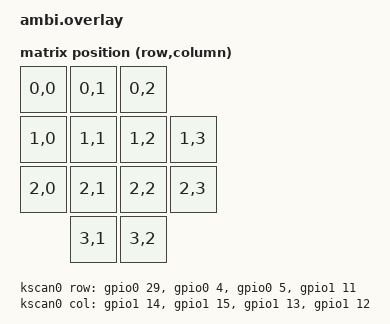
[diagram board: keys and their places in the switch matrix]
/*
 * Copyright (c) 2025 The ZMK Contributors
 *
 * SPDX-License-Identifier: MIT
 */

#include <dt-bindings/zmk/matrix_transform.h>
#include <physical_layouts.dtsi>

/ {
    chosen {
        zmk,kscan = &kscan0;
        zmk,physical-layout = &physical_layout;
    };

    default_transform: keymap_transform_0 {
        compatible = "zmk,matrix-transform";
        columns = <4>;
        rows = <4>;
// Ambi10 Layout (13 keys)
// Row 0: 3 keys (left, center, right)
// Row 1: 4 keys (left ~ right)
// Row 2: 4 keys (left ~ right)
// Row 3: 2 keys (center and right)
        map = <
RC(0,0) RC(0,1) RC(0,2)
RC(1,0) RC(1,1) RC(1,2) RC(1,3)
RC(2,0) RC(2,1) RC(2,2) RC(2,3)
        RC(3,1) RC(3,2)
        >;
    };

    physical_layout: physical_layout {
        compatible = "zmk,physical-layout";
        display-name = "Ambi10";
        transform = <&default_transform>;
        kscan = <&kscan0>;
// Keys: width, height, x, y, rotation, rotation_x, rotation_y (all in 1/100th mm)
// Standard key is 100x100 (1u x 1u)
        keys
            = <&key_physical_attrs 100 100   0   0 0 0 0>  // Row 0, Col 0: 7
            , <&key_physical_attrs 100 100 100   0 0 0 0>  // Row 0, Col 1: 8
            , <&key_physical_attrs 100 100 200   0 0 0 0>  // Row 0, Col 2: 9
            , <&key_physical_attrs 100 100   0 100 0 0 0>  // Row 1, Col 0: 4
            , <&key_physical_attrs 100 100 100 100 0 0 0>  // Row 1, Col 1: 5
            , <&key_physical_attrs 100 100 200 100 0 0 0>  // Row 1, Col 2: 6
            , <&key_physical_attrs 100 100 300 100 0 0 0>  // Row 1, Col 3: -
            , <&key_physical_attrs 100 100   0 200 0 0 0>  // Row 2, Col 0: 1
            , <&key_physical_attrs 100 100 100 200 0 0 0>  // Row 2, Col 1: 2
            , <&key_physical_attrs 100 100 200 200 0 0 0>  // Row 2, Col 2: 3
            , <&key_physical_attrs 100 100 300 200 0 0 0>  // Row 2, Col 3: +
            , <&key_physical_attrs 100 100 100 300 0 0 0>  // Row 3, Col 1: 0
            , <&key_physical_attrs 100 100 200 300 0 0 0>  // Row 3, Col 2: .
            ;
    };

    kscan0: kscan {
        compatible = "zmk,kscan-gpio-matrix";
        diode-direction = "col2row";
        wakeup-source;

        row-gpios
            = <&gpio0 29 (GPIO_ACTIVE_HIGH | GPIO_PULL_DOWN)>  // D3 (GP29)
            , <&gpio0 4 (GPIO_ACTIVE_HIGH | GPIO_PULL_DOWN)>   // D4 (GP6)
            , <&gpio0 5 (GPIO_ACTIVE_HIGH | GPIO_PULL_DOWN)>   // D5 (GP7)
            , <&gpio1 11 (GPIO_ACTIVE_HIGH | GPIO_PULL_DOWN)>  // D6 (GP0)
            ;

        col-gpios
            = <&gpio1 14 GPIO_ACTIVE_HIGH>  // D9 (GP3)
            , <&gpio1 15 GPIO_ACTIVE_HIGH>  // D10 (GP4)
            , <&gpio1 13 GPIO_ACTIVE_HIGH>  // D8 (GP2)
            , <&gpio1 12 GPIO_ACTIVE_HIGH>  // D7 (GP1)
            ;
    };
};
